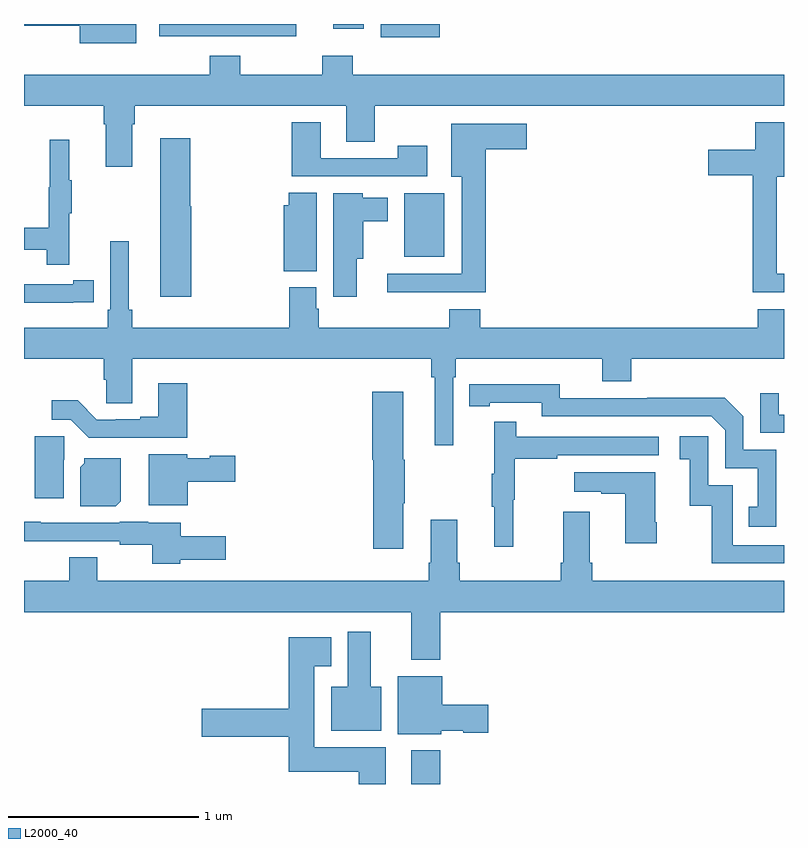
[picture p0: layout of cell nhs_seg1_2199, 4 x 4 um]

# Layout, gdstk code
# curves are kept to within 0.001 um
import gdstk
lib = gdstk.Library(unit=1e-6, precision=1e-09)
def R(c, l, rs):  # rectangles x0, y0, x1, y1
    for r in rs: c.add(gdstk.rectangle(r[:2], r[2:], *l))
def P(c, l, *ps):  # polygons
    for p in ps: c.add(gdstk.Polygon(p, *l))
L2000_40 = (2000, 40)

nhs_seg1_2199 = lib.new_cell('nhs_seg1_2199')
R(nhs_seg1_2199, L2000_40, [(233.039,512.199,233.192,512.377), (233,514.973,233.212,515.308), (232.878,516.128,233.188,516.199), (231.711,516.134,232.432,516.199), (232.628,516.174,232.789,516.199)])
P(nhs_seg1_2199, L2000_40, [(231.592,516.199),(231,516.199),(231,516.191),(231.293,516.191),(231.293,516.098),(231.592,516.098)],
  [(231.571,515.672),(231.584,515.672),(231.584,515.768),(232.697,515.768),(232.697,515.578),(232.845,515.578),(232.845,515.768),(235,515.768),(235,515.932),(232.73,515.932),(232.73,516.031),(232.57,516.031),(232.57,515.932),(232.137,515.932),(232.137,516.031),(231.977,516.031),(231.977,515.932),(231,515.932),(231,515.768),(231.419,515.768),(231.419,515.672),(231.431,515.672),(231.431,515.448),(231.571,515.448)],
  [(233.122,515.557),(232.966,515.557),(232.966,515.493),(232.561,515.493),(232.561,515.683),(232.409,515.683),(232.409,515.397),(233.122,515.397)],
  [(235,514.884),(234.961,514.884),(234.961,515.396),(235,515.396),(235,515.683),(234.848,515.683),(234.848,515.536),(234.6,515.536),(234.6,515.402),(234.836,515.402),(234.836,514.787),(235,514.787)],
  [(233.429,515.54),(233.647,515.54),(233.647,515.674),(233.249,515.674),(233.249,515.396),(233.303,515.396),(233.303,514.884),(232.911,514.884),(232.911,514.787),(233.429,514.787)],
  [(231.88,515.241),(231.875,515.241),(231.875,515.599),(231.716,515.599),(231.716,514.764),(231.88,514.764)],
  [(231.239,515.203),(231.25,515.203),(231.25,515.377),(231.239,515.377),(231.239,515.59),(231.136,515.59),(231.136,515.34),(231.129,515.34),(231.129,515.126),(231,515.126),(231,515.01),(231.121,515.01),(231.121,514.932),(231.239,514.932)],
  [(232.54,515.312),(232.394,515.312),(232.394,515.245),(232.367,515.245),(232.367,514.898),(232.54,514.898)],
  [(232.75,514.964),(232.786,514.964),(232.786,515.162),(232.915,515.162),(232.915,515.284),(232.782,515.284),(232.782,515.308),(232.628,515.308),(232.628,514.764),(232.75,514.764)],
  [(233.259,514.34),(233.273,514.34),(233.273,514.436),(234.044,514.436),(234.044,514.319),(234.197,514.319),(234.197,514.436),(235,514.436),(235,514.699),(234.863,514.699),(234.863,514.6),(233.402,514.6),(233.402,514.699),(233.237,514.699),(233.237,514.6),(232.55,514.6),(232.55,514.701),(232.537,514.701),(232.537,514.813),(232.397,514.813),(232.397,514.6),(231.569,514.6),(231.569,514.696),(231.55,514.696),(231.55,515.056),(231.453,515.056),(231.453,514.696),(231.44,514.696),(231.44,514.6),(231,514.6),(231,514.436),(231.419,514.436),(231.419,514.326),(231.432,514.326),(231.432,514.204),(231.571,514.204),(231.571,514.436),(233.143,514.436),(233.143,514.34),(233.162,514.34),(233.162,513.981),(233.259,513.981)],
  [(231.26,514.734),(231.368,514.734),(231.368,514.85),(231.26,514.85),(231.26,514.83),(231,514.83),(231,514.733),(231.26,514.733)],
  [(231.86,514.309),(231.707,514.309),(231.707,514.132),(231.611,514.132),(231.611,514.119),(231.484,514.119),(231.484,514.116),(231.384,514.116),(231.282,514.219),(231.147,514.219),(231.147,514.116),(231.246,514.116),(231.34,514.022),(231.86,514.022)],
  [(234.96,513.957),(234.786,513.957),(234.786,514.134),(234.688,514.232),(234.28,514.232),(234.28,514.23),(233.82,514.23),(233.82,514.303),(233.344,514.302),(233.344,514.186),(233.452,514.186),(233.452,514.206),(233.724,514.206),(233.724,514.134),(234.618,514.134),(234.69,514.062),(234.69,513.861),(234.863,513.861),(234.863,513.657),(234.814,513.657),(234.814,513.552),(234.96,513.552)],
  [(232.996,513.676),(233.004,513.676),(233.004,513.906),(232.996,513.906),(232.996,514.264),(232.832,514.264),(232.832,513.906),(232.838,513.906),(232.838,513.438),(232.996,513.438)],
  [(235,514.143),(234.973,514.143),(234.973,514.255),(234.876,514.255),(234.876,514.047),(235,514.047)],
  [(233.576,513.696),(233.584,513.696),(233.584,513.91),(233.807,513.91),(233.807,513.93),(234.34,513.93),(234.34,514.026),(233.591,514.026),(233.591,514.105),(233.474,514.105),(233.474,513.833),(233.463,513.833),(233.463,513.659),(233.474,513.659),(233.474,513.447),(233.576,513.447)],
  [(235,513.456),(234.729,513.456),(234.729,513.771),(234.6,513.771),(234.6,514.03),(234.45,514.03),(234.45,513.909),(234.503,513.909),(234.503,513.663),(234.621,513.663),(234.621,513.36),(235,513.36)],
  [(231.208,513.906),(231.212,513.906),(231.212,514.029),(231.056,514.029),(231.056,513.702),(231.208,513.702)],
  [(231.862,513.791),(232.111,513.791),(232.111,513.926),(231.978,513.926),(231.978,513.913),(231.858,513.913),(231.858,513.934),(231.656,513.934),(231.656,513.665),(231.862,513.665)],
  [(231.508,513.688),(231.508,513.913),(231.318,513.913),(231.318,513.888),(231.296,513.866),(231.296,513.662),(231.482,513.662)],
  [(234.33,513.577),(234.322,513.577),(234.322,513.841),(233.895,513.841),(233.895,513.737),(234.038,513.737),(234.038,513.727),(234.164,513.727),(234.164,513.465),(234.33,513.465)],
  [(233.192,513.104),(235,513.104),(235,513.268),(233.99,513.268),(233.99,513.364),(233.977,513.364),(233.977,513.631),(233.837,513.631),(233.837,513.364),(233.825,513.364),(233.825,513.268),(233.294,513.268),(233.294,513.364),(233.281,513.364),(233.281,513.589),(233.141,513.589),(233.141,513.364),(233.129,513.364),(233.129,513.268),(231.385,513.268),(231.385,513.392),(231.238,513.392),(231.238,513.268),(231,513.268),(231,513.104),(233.039,513.104),(233.039,512.852),(233.192,512.852)],
  [(231.822,513.38),(232.063,513.38),(232.063,513.502),(231.826,513.502),(231.826,513.574),(231.654,513.574),(231.654,513.58),(231.504,513.58),(231.504,513.573),(231.087,513.573),(231.087,513.58),(231,513.58),(231,513.476),(231.087,513.476),(231.087,513.477),(231.504,513.477),(231.504,513.458),(231.674,513.458),(231.674,513.359),(231.822,513.359)],
  [(232.879,512.71),(232.825,512.71),(232.825,513.001),(232.703,513.001),(232.703,512.71),(232.616,512.71),(232.616,512.48),(232.879,512.48)],
  [(232.903,512.392),(232.528,512.392),(232.528,512.819),(232.618,512.819),(232.618,512.971),(232.394,512.971),(232.394,512.594),(231.936,512.594),(231.936,512.447),(232.394,512.447),(232.394,512.264),(232.763,512.264),(232.763,512.199),(232.903,512.199)],
  [(233.196,512.48),(233.313,512.48),(233.313,512.468),(233.443,512.468),(233.443,512.615),(233.2,512.615),(233.2,512.767),(232.967,512.767),(232.967,512.462),(233.196,512.462)])

lib.write_gds('nhs_seg1_2199.gds')
